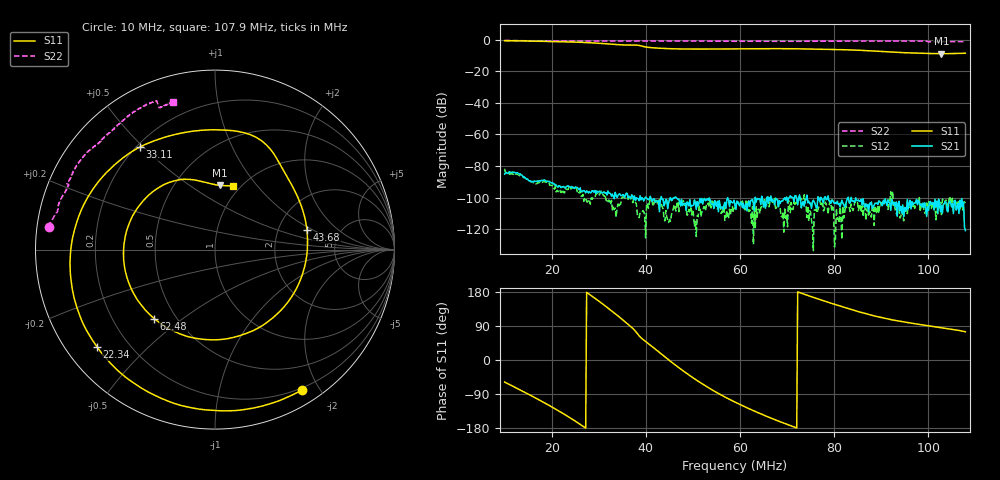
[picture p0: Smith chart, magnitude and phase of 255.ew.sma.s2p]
! Anritsu VNA Master:  Model: MS2036C/10/77
! SN:  1601066
! /card0/usr/255.ew.sma.s2p
! Existing Calibration Information:
! TYPE:  Current Settings,  Active Cal Settings
! TIME:  12/17/2017 05:59:56 PM,  12/17/2017 05:44:58 PM
! INTERNAL TEMP:  44.0 C,  43.8 C
! # POINTS:  501,  501
! START FREQ:  10.000 MHz,  10.000 MHz
! STOP FREQ:  107.903 125 MHz,  107.903 125 MHz
! SOURCE POWER:  High,  High
! IFBW:  100 Hz,  100 Hz
! AVG FACTOR:  1 ,  1
! REF PLANE 1:  0 mm,  0 mm
! REF PLANE 2:  0 mm,  0 mm
! CAL TYPE:  Full S11,  Full S11
! CAL METHOD:  SOLT,  SOLT
! CAL LINE TYPE:  Coax,  Coax
! DUT PORT 1:  K-Conn(F),  K-Conn(F)
! DUT PORT 2:  K-Conn(F),  K-Conn(F)
! CAL STATUS:  OK: Accuracy High,  --
# GHZ S DB R 50.0
! FREQ.GHZ  S11DB  S11A  S21DB  S21A  S12DB  S12A  S22DB  S22A
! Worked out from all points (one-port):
!   501 points, 10 MHz to 107.9 MHz, reference 50 ohm
!   lowest |S11| = -8.9 dB at 102.8 MHz (marker M1), VSWR 2.12, Z = 40.7 + j33.4 ohm
!   |S11| at or under -10 dB: nowhere
!   S11 on the Smith chart (normalised r, x): 10 MHz: 0.18, -1.78; 22.34 MHz: 0.09, -0.36; 33.11 MHz: 0.21, +0.49; 43.68 MHz: 2.90, +0.88; 62.48 MHz: 0.38, -0.40; 107.9 MHz: 0.92, +0.76
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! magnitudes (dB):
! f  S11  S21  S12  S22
! 10 MHz  -0.7  -85.0  -81.6  -0.6
! 16.46 MHz  -1.0  -89.6  -91.0  -0.9
! 22.34 MHz  -1.4  -93.1  -97.5  -0.9
! 26.45 MHz  -1.8  -96.3  -98.9  -1.0
! 33.11 MHz  -3.0  -99.3  -105.9  -0.9
! 35.45 MHz  -3.4  -99.7  -99.8  -0.9
! 38 MHz  -3.5  -100.0  -103.9  -0.9
! 40.35 MHz  -4.9  -101.0  -103.4  -0.9
! 42.7 MHz  -5.5  -102.0  -103.7  -0.9
! 43.68 MHz  -5.6  -101.0  -107.1  -0.9
! 49.94 MHz  -6.0  -105.1  -107.4  -1.0
! 59.15 MHz  -5.9  -107.4  -103.0  -1.1
! 62.48 MHz  -5.8  -101.6  -116.2  -1.1
! 69.33 MHz  -5.8  -100.6  -121.7  -1.1
! 75.4 MHz  -6.0  -102.7  -117.5  -1.1
! 84.8 MHz  -6.7  -101.7  -103.8  -1.0
! 91.65 MHz  -7.8  -102.8  -104.1  -1.0
! 94.59 MHz  -8.3  -104.5  -109.9  -1.0
! 99.29 MHz  -8.8  -103.1  -109.8  -1.0
! 100.3 MHz  -8.8  -103.2  -104.3  -1.4
! 102.8 MHz  -8.9  -105.0  -110.7  -1.4
! 107.9 MHz  -8.7  -120.7  -103.3  -1.3
